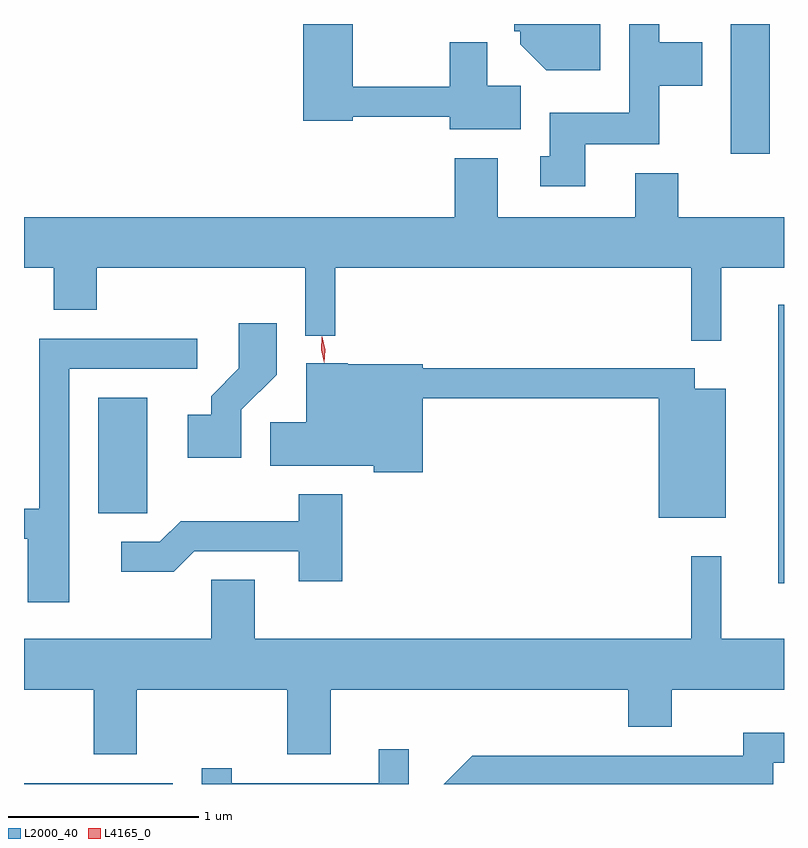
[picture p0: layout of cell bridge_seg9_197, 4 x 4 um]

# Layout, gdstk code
import gdstk
lib = gdstk.Library(unit=1e-6, precision=1e-09)
def R(c, l, rs):  # rectangles x0, y0, x1, y1
    for r in rs: c.add(gdstk.rectangle(r[:2], r[2:], *l))
def P(c, l, *ps):  # polygons
    for p in ps: c.add(gdstk.Polygon(p, *l))
L2000_40 = (2000, 40)
L4165_0 = (4165, 0)

bridge_seg9_197 = lib.new_cell('bridge_seg9_197')
R(bridge_seg9_197, L2000_40, [(1128.435,1962.46,1129.219,1962.464), (1132.406,1963.516,1132.435,1964.983), (1128.826,1963.886,1129.084,1964.494), (1132.156,1965.776,1132.359,1966.46)])
P(bridge_seg9_197, L2000_40, [(1131.469,1966.46),(1131.016,1966.46),(1131.016,1966.421),(1131.046,1966.421),(1131.046,1966.354),(1131.184,1966.216),(1131.469,1966.216)],
  [(1131.389,1965.826),(1131.779,1965.826),(1131.779,1966.136),(1132.004,1966.136),(1132.004,1966.364),(1131.779,1966.364),(1131.779,1966.46),(1131.621,1966.46),(1131.621,1965.994),(1131.201,1965.994),(1131.201,1965.764),(1131.153,1965.764),(1131.153,1965.606),(1131.389,1965.606)],
  [(1131.049,1966.134),(1130.874,1966.134),(1130.874,1966.364),(1130.676,1966.364),(1130.676,1966.129),(1130.164,1966.129),(1130.164,1966.46),(1129.906,1966.46),(1129.906,1965.951),(1130.164,1965.951),(1130.164,1965.971),(1130.676,1965.971),(1130.676,1965.906),(1131.049,1965.906)],
  [(1132.104,1965.176),(1132.435,1965.176),(1132.435,1965.444),(1131.879,1965.444),(1131.879,1965.674),(1131.651,1965.674),(1131.651,1965.444),(1130.929,1965.444),(1130.929,1965.754),(1130.701,1965.754),(1130.701,1965.444),(1128.435,1965.444),(1128.435,1965.176),(1128.591,1965.176),(1128.591,1964.956),(1128.819,1964.956),(1128.819,1965.176),(1129.916,1965.176),(1129.916,1964.818),(1130.074,1964.818),(1130.074,1965.176),(1131.946,1965.176),(1131.946,1964.793),(1132.104,1964.793)],
  [(1129.579,1964.429),(1129.764,1964.614),(1129.764,1964.884),(1129.566,1964.884),(1129.566,1964.647),(1129.421,1964.502),(1129.421,1964.404),(1129.296,1964.404),(1129.296,1964.176),(1129.579,1964.176)],
  [(1128.674,1964.646),(1129.348,1964.646),(1129.348,1964.804),(1128.516,1964.804),(1128.516,1963.909),(1128.435,1963.909),(1128.435,1963.751),(1128.456,1963.751),(1128.456,1963.416),(1128.674,1963.416)],
  [(1132.129,1964.539),(1131.964,1964.539),(1131.964,1964.649),(1130.534,1964.649),(1130.534,1964.669),(1130.14,1964.669),(1130.14,1964.674),(1129.921,1964.674),(1129.921,1964.364),(1129.731,1964.364),(1129.731,1964.136),(1130.276,1964.136),(1130.276,1964.101),(1130.534,1964.101),(1130.534,1964.491),(1131.776,1964.491),(1131.776,1963.861),(1132.129,1963.861)],
  [(1130.109,1963.984),(1129.881,1963.984),(1129.881,1963.844),(1129.259,1963.844),(1129.149,1963.734),(1128.948,1963.734),(1128.948,1963.576),(1129.222,1963.576),(1129.332,1963.686),(1129.881,1963.686),(1129.881,1963.526),(1130.109,1963.526)],
  [(1129.821,1962.616),(1130.049,1962.616),(1130.049,1962.956),(1131.616,1962.956),(1131.616,1962.761),(1131.844,1962.761),(1131.844,1962.956),(1132.435,1962.956),(1132.435,1963.224),(1132.104,1963.224),(1132.104,1963.658),(1131.946,1963.658),(1131.946,1963.224),(1129.649,1963.224),(1129.649,1963.534),(1129.421,1963.534),(1129.421,1963.224),(1128.435,1963.224),(1128.435,1962.956),(1128.801,1962.956),(1128.801,1962.616),(1129.029,1962.616),(1129.029,1962.956),(1129.821,1962.956)],
  [(1132.379,1962.571),(1132.435,1962.571),(1132.435,1962.729),(1132.221,1962.729),(1132.221,1962.609),(1130.794,1962.609),(1130.644,1962.46),(1132.379,1962.46)],
  [(1130.459,1962.643),(1130.301,1962.643),(1130.301,1962.464),(1129.529,1962.464),(1129.529,1962.543),(1129.371,1962.543),(1129.371,1962.46),(1130.459,1962.46)])
P(bridge_seg9_197, L4165_0, [(1130.016,1964.676),(1130.015,1964.677),(1130,1964.745),(1130.003,1964.814),(1130.003,1964.815),(1130.004,1964.814),(1130.02,1964.746),(1130.016,1964.677)])

lib.write_gds('bridge_seg9_197.gds')
